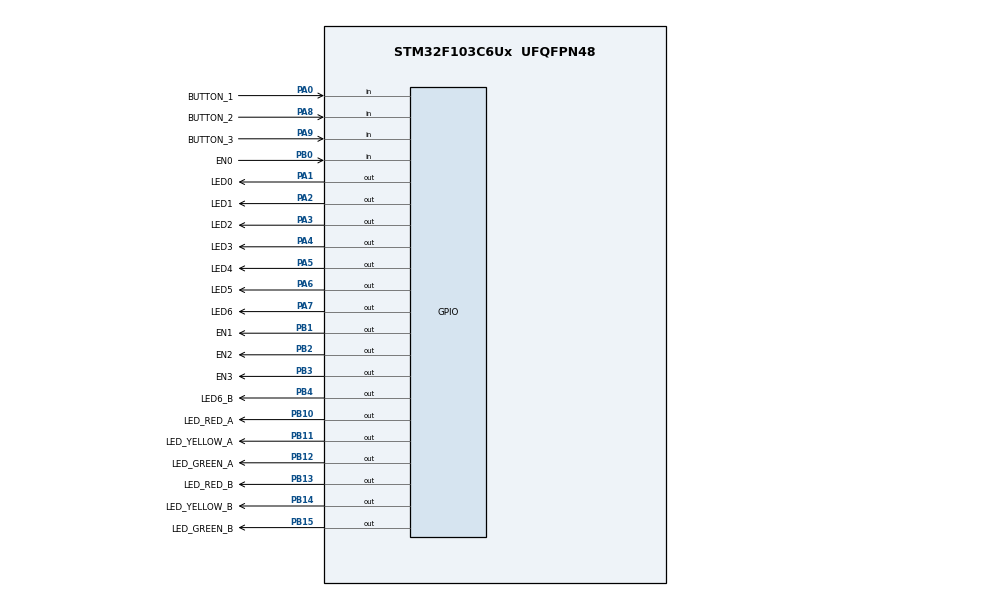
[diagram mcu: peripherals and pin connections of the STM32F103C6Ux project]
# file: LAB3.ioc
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Mcu.Family=STM32F1
Mcu.Name=STM32F103C6Ux
Mcu.Package=UFQFPN48
NVIC.PriorityGroup=NVIC_PRIORITYGROUP_4
NVIC.TIM2_IRQn=true\:0\:0\:false\:false\:true\:true\:true
PA0-WKUP.GPIO_Label=BUTTON_1
PA0-WKUP.Signal=GPIO_Input
PA1.GPIO_Label=LED0
PA1.Signal=GPIO_Output
PA2.GPIO_Label=LED1
PA2.Signal=GPIO_Output
PA3.GPIO_Label=LED2
PA3.Signal=GPIO_Output
PA4.GPIO_Label=LED3
PA4.Signal=GPIO_Output
PA5.GPIO_Label=LED4
PA5.Signal=GPIO_Output
PA6.GPIO_Label=LED5
PA6.Signal=GPIO_Output
PA7.GPIO_Label=LED6
PA7.Signal=GPIO_Output
PA8.GPIO_Label=BUTTON_2
PA8.Signal=GPIO_Input
PA9.GPIO_Label=BUTTON_3
PA9.Signal=GPIO_Input
PB0.GPIO_Label=EN0
PB0.Signal=GPIO_Input
PB1.GPIO_Label=EN1
PB1.Signal=GPIO_Output
PB10.GPIO_Label=LED_RED_A
PB10.Signal=GPIO_Output
PB11.GPIO_Label=LED_YELLOW_A
PB11.Signal=GPIO_Output
PB12.GPIO_Label=LED_GREEN_A
PB12.Signal=GPIO_Output
PB13.GPIO_Label=LED_RED_B
PB13.Signal=GPIO_Output
PB14.GPIO_Label=LED_YELLOW_B
PB14.Signal=GPIO_Output
PB15.GPIO_Label=LED_GREEN_B
PB15.Signal=GPIO_Output
PB2.GPIO_Label=EN2
PB2.Signal=GPIO_Output
PB3.GPIO_Label=EN3
PB3.Signal=GPIO_Output
PB4.GPIO_Label=LED6_B
PB4.Signal=GPIO_Output
ProjectManager.HeapSize=0x200
ProjectManager.StackSize=0x400
ProjectManager.TargetToolchain=STM32CubeIDE
RCC.APB1Freq_Value=8000000
RCC.APB2Freq_Value=8000000
TIM2.Period=9
TIM2.Prescaler=7999
VP_SYS_VS_ND.Mode=No_Debug
VP_TIM2_VS_ClockSourceINT.Mode=Internal
board=custom

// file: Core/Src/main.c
/* USER CODE BEGIN Header */
/**
  ******************************************************************************
  * @file           : main.c
  * @brief          : Main program body
  ******************************************************************************
  * @attention
  *
  * <h2><center>&copy; Copyright (c) 2025 STMicroelectronics.
  * All rights reserved.</center></h2>
  *
  * This software component is licensed by ST under BSD 3-Clause license,
  * the "License"; You may not use this file except in compliance with the
  * License. You may obtain a copy of the License at:
  *                        opensource.org/licenses/BSD-3-Clause
  *
  ******************************************************************************
  */
/* USER CODE END Header */
#include "main.h"
#include "automatic.h"
#include "manual.h"

TIM_HandleTypeDef htim2;

void SystemClock_Config(void);
static void MX_GPIO_Init(void);
static void MX_TIM2_Init(void);

int main(void)
{

  /* MCU Configuration--------------------------------------------------------*/

  /* Reset of all peripherals, Initializes the Flash interface and the Systick. */
  HAL_Init();

  /* Configure the system clock */
  SystemClock_Config();

  /* Initialize all configured peripherals */
  MX_GPIO_Init();
  MX_TIM2_Init();
  /* USER CODE BEGIN 2 */
  HAL_TIM_Base_Start_IT(&htim2);
  /* USER CODE END 2 */

  /* Infinite loop */
  /* USER CODE BEGIN WHILE */
  setTimer(0, 1000);
  setTimer(1,5000);
  setTimer(3,120);
  updateLEDBuffer(time_red,time_green);
  while (1)
  {

	  if (isbuttonpressed(0) == 1) {
	  		  if (status == INIT || (status >= AUTO_RED_GREEN && status <= AUTO_YELLOW_RED)) {
	  			  status = MAN_RED;
	  			  turnoffled();
	  			  setTimer(4, 500);
	  			  updateLEDBuffer(2, temp_red);
	  		  }
	  		  else if (status == MAN_RED) {
	  			  status = MAN_YELLOW;
	  			  turnoffled();
	  			setTimer(4, 500);
	  			  updateLEDBuffer(3, temp_yellow);
	  		  }
	  		  else if (status == MAN_YELLOW) {
	  			  status = MAN_GREEN;
	  			  turnoffled();
	  			setTimer(4, 500);
	  			  updateLEDBuffer(4, temp_green);
	  		  }
	  		  else if (status == MAN_GREEN) {
	  			  status = INIT;
	  			  turnoffled();
	  		  }
	  	  }

	  	  if (status == INIT || (status >= AUTO_RED_GREEN && status <= AUTO_YELLOW_RED)) {
	  		  fsm_automatic_run();
	  	  }
	  	  else if (status >= MAN_RED && status <= MAN_GREEN) {
	  		  fsm_manual_run();
	  	  }
	  printled();

    /* USER CODE END WHILE */

  }
}

void SystemClock_Config(void)
{
  RCC_OscInitTypeDef RCC_OscInitStruct = {0};
  RCC_ClkInitTypeDef RCC_ClkInitStruct = {0};

  /** Initializes the RCC Oscillators according to the specified parameters
  * in the RCC_OscInitTypeDef structure.
  */
  RCC_OscInitStruct.OscillatorType = RCC_OSCILLATORTYPE_HSI;
  RCC_OscInitStruct.HSIState = RCC_HSI_ON;
  RCC_OscInitStruct.HSICalibrationValue = RCC_HSICALIBRATION_DEFAULT;
  RCC_OscInitStruct.PLL.PLLState = RCC_PLL_NONE;
  if (HAL_RCC_OscConfig(&RCC_OscInitStruct) != HAL_OK)
  {
    Error_Handler();
  }
  /** Initializes the CPU, AHB and APB buses clocks
  */
  RCC_ClkInitStruct.ClockType = RCC_CLOCKTYPE_HCLK|RCC_CLOCKTYPE_SYSCLK
                              |RCC_CLOCKTYPE_PCLK1|RCC_CLOCKTYPE_PCLK2;
  RCC_ClkInitStruct.SYSCLKSource = RCC_SYSCLKSOURCE_HSI;
  RCC_ClkInitStruct.AHBCLKDivider = RCC_SYSCLK_DIV1;
  RCC_ClkInitStruct.APB1CLKDivider = RCC_HCLK_DIV1;
  RCC_ClkInitStruct.APB2CLKDivider = RCC_HCLK_DIV1;

  if (HAL_RCC_ClockConfig(&RCC_ClkInitStruct, FLASH_LATENCY_0) != HAL_OK)
  {
    Error_Handler();
  }
}

static void MX_TIM2_Init(void)
{

  TIM_ClockConfigTypeDef sClockSourceConfig = {0};
  TIM_MasterConfigTypeDef sMasterConfig = {0};

  htim2.Instance = TIM2;
  htim2.Init.Prescaler = 7999;
  htim2.Init.CounterMode = TIM_COUNTERMODE_UP;
  htim2.Init.Period = 9;
  htim2.Init.ClockDivision = TIM_CLOCKDIVISION_DIV1;
  htim2.Init.AutoReloadPreload = TIM_AUTORELOAD_PRELOAD_DISABLE;
  if (HAL_TIM_Base_Init(&htim2) != HAL_OK)
  {
    Error_Handler();
  }
  sClockSourceConfig.ClockSource = TIM_CLOCKSOURCE_INTERNAL;
  if (HAL_TIM_ConfigClockSource(&htim2, &sClockSourceConfig) != HAL_OK)
  {
    Error_Handler();
  }
  sMasterConfig.MasterOutputTrigger = TIM_TRGO_RESET;
  sMasterConfig.MasterSlaveMode = TIM_MASTERSLAVEMODE_DISABLE;
  if (HAL_TIMEx_MasterConfigSynchronization(&htim2, &sMasterConfig) != HAL_OK)
  {
    Error_Handler();
  }

}

static void MX_GPIO_Init(void)
{
  GPIO_InitTypeDef GPIO_InitStruct = {0};

  /* GPIO Ports Clock Enable */
  __HAL_RCC_GPIOA_CLK_ENABLE();
  __HAL_RCC_GPIOB_CLK_ENABLE();

  /*Configure GPIO pin Output Level */
  HAL_GPIO_WritePin(GPIOA, LED0_Pin|LED1_Pin|LED2_Pin|LED3_Pin
                          |LED4_Pin|LED5_Pin|LED6_Pin, GPIO_PIN_SET);

  /*Configure GPIO pin Output Level */
  HAL_GPIO_WritePin(GPIOB, EN0_Pin|EN1_Pin|EN2_Pin|LED_RED_A_Pin
                          |LED_YELLOW_A_Pin|LED_GREEN_A_Pin|LED_RED_B_Pin|LED_YELLOW_B_Pin
                          |LED_GREEN_B_Pin|EN3_Pin, GPIO_PIN_SET);

  /*Configure GPIO pins : BUTTON_1_Pin BUTTON_2_Pin BUTTON_3_Pin */
  GPIO_InitStruct.Pin = BUTTON_1_Pin|BUTTON_2_Pin|BUTTON_3_Pin;
  GPIO_InitStruct.Mode = GPIO_MODE_INPUT;
  GPIO_InitStruct.Pull = GPIO_NOPULL;
  HAL_GPIO_Init(GPIOA, &GPIO_InitStruct);

  /*Configure GPIO pins : LED0_Pin LED1_Pin LED2_Pin LED3_Pin
                           LED4_Pin LED5_Pin LED6_Pin */
  GPIO_InitStruct.Pin = LED0_Pin|LED1_Pin|LED2_Pin|LED3_Pin
                          |LED4_Pin|LED5_Pin|LED6_Pin;
  GPIO_InitStruct.Mode = GPIO_MODE_OUTPUT_PP;
  GPIO_InitStruct.Pull = GPIO_NOPULL;
  GPIO_InitStruct.Speed = GPIO_SPEED_FREQ_LOW;
  HAL_GPIO_Init(GPIOA, &GPIO_InitStruct);

  /*Configure GPIO pins : EN0_Pin EN1_Pin EN2_Pin LED_RED_A_Pin
                           LED_YELLOW_A_Pin LED_GREEN_A_Pin LED_RED_B_Pin LED_YELLOW_B_Pin
                           LED_GREEN_B_Pin EN3_Pin */
  GPIO_InitStruct.Pin = EN0_Pin|EN1_Pin|EN2_Pin|LED_RED_A_Pin
                          |LED_YELLOW_A_Pin|LED_GREEN_A_Pin|LED_RED_B_Pin|LED_YELLOW_B_Pin
                          |LED_GREEN_B_Pin|EN3_Pin;
  GPIO_InitStruct.Mode = GPIO_MODE_OUTPUT_PP;
  GPIO_InitStruct.Pull = GPIO_NOPULL;
  GPIO_InitStruct.Speed = GPIO_SPEED_FREQ_LOW;
  HAL_GPIO_Init(GPIOB, &GPIO_InitStruct);

}

void Error_Handler(void)
{
  __disable_irq();
  while (1)
  {
  }
}

/************************ (C) COPYRIGHT STMicroelectronics *****END OF FILE****/
